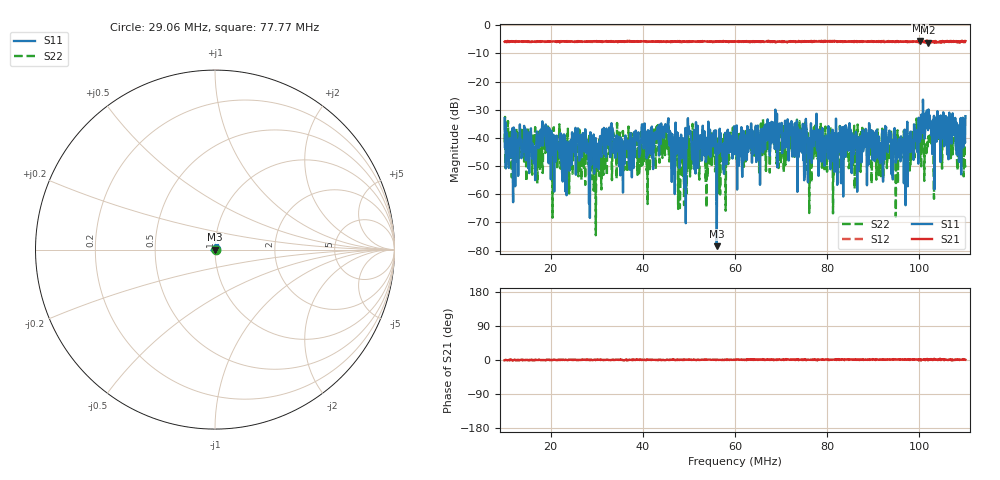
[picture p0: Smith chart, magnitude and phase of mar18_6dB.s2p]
! Anritsu VNA Master:  Model: MS2036C/10/77
! SN:  1601066
! /card0/usr/mar18_6dB.s2p
! Existing Calibration Information:
! TYPE:  Current Settings,  Active Cal Settings
! TIME:  03/18/2016 01:38:25 PM,  03/18/2016 01:23:09 PM
! INTERNAL TEMP:  47.8 C,  46.8 C
! # POINTS:  1087,  1087
! START FREQ:  10.000 MHz,  5.000 kHz
! STOP FREQ:  110.000 MHz,  6.000 GHz
! SOURCE POWER:  Low,  Low
! IFBW:  1 kHz,  1 kHz
! AVG FACTOR:  1 ,  1
! REF PLANE 1:  -6.095 mm,  -6.095 mm
! REF PLANE 2:  0 mm,  0 mm
! CAL TYPE:  Full 2 Port,  Full 2 Port
! CAL METHOD:  SOLT,  SOLT
! CAL LINE TYPE:  Coax,  Coax
! DUT PORT 1:  K-Conn(M),  K-Conn(M)
! DUT PORT 2:  N-Conn(M),  N-Conn(M)
! CAL STATUS:  OK: Accuracy High,  --
# GHZ S MA R 50.0
! FREQ.GHZ  S11M  S11A  S21M  S21A  S12M  S12A  S22M  S22A
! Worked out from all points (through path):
!   1087 points, 10 MHz to 110 MHz, reference 50 ohm
!   highest |S21| = -5.46 dB at 100.1 MHz (marker M1); lowest = -6.2 dB at 101.9 MHz (marker M2)
!   lowest |S11| = -78.5 dB at 56.04 MHz (marker M3), VSWR 1.00, Z = 50 + j0.00337 ohm
!   |S11| at or under -10 dB: start of sweep to end of sweep
!   |S22| runs from -74.6 to -32.5 dB; largest |S21 - S12| = 0.04
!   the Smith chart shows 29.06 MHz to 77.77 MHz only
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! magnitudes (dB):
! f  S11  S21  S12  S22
! 10 MHz  -33.0  -5.8  -5.7  -41.6
! 11.38 MHz  -46.8  -5.7  -5.6  -50.2
! 16.35 MHz  -49.1  -5.8  -5.7  -45.1
! 18.47 MHz  -38.4  -5.7  -5.6  -40.4
! 22.71 MHz  -42.3  -5.6  -5.7  -49.7
! 26.67 MHz  -45.4  -5.7  -5.8  -55.0
! 30.07 MHz  -43.5  -5.7  -5.7  -47.1
! 32.74 MHz  -36.3  -5.6  -5.6  -45.8
! 35.6 MHz  -45.7  -5.8  -5.7  -37.7
! 43.43 MHz  -38.5  -5.9  -5.8  -37.6
! 48.49 MHz  -46.1  -5.7  -5.7  -43.7
! 50.06 MHz  -38.1  -5.6  -5.7  -41.1
! 51.16 MHz  -37.3  -5.7  -5.8  -44.0
! 56.04 MHz  -78.5  -5.7  -5.9  -39.9
! 60 MHz  -45.8  -5.7  -5.7  -38.2
! 76.67 MHz  -48.9  -5.9  -5.6  -40.1
! 93.43 MHz  -38.1  -5.8  -5.9  -47.2
! 97.11 MHz  -39.9  -5.9  -5.9  -45.5
! 100.1 MHz  -37.2  -5.5  -5.6  -36.3
! 101.9 MHz  -37.2  -6.2  -5.8  -40.5
! 108.6 MHz  -48.5  -5.6  -6.0  -47.5
! 110 MHz  -32.3  -5.6  -6.1  -49.8
